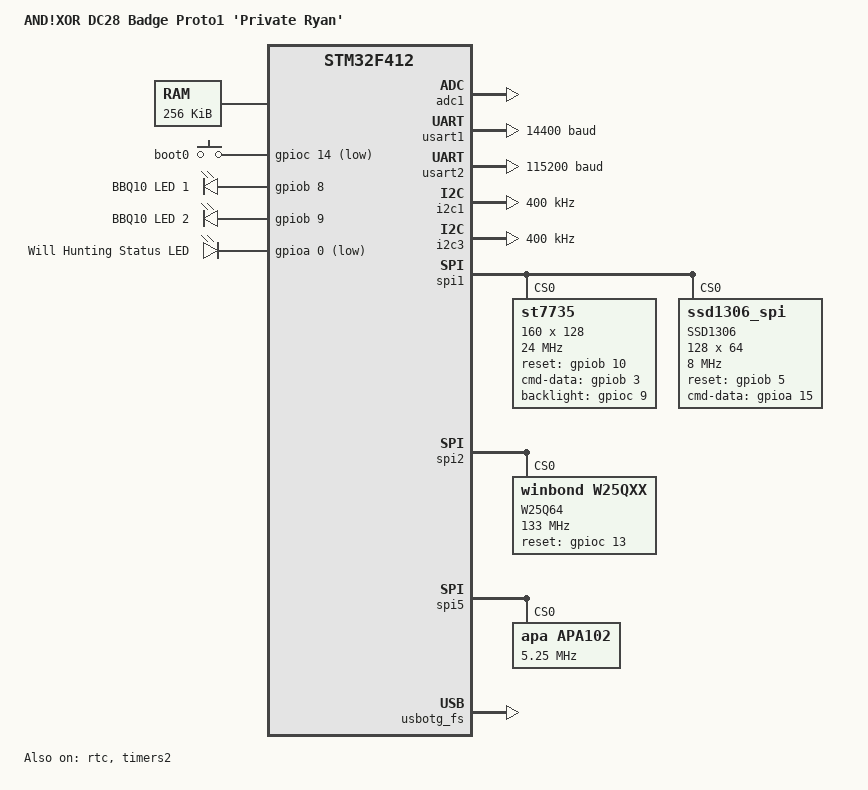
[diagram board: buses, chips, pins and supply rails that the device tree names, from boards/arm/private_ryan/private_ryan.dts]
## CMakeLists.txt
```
# SPDX-License-Identifier: Apache-2.0

cmake_minimum_required(VERSION 3.13.1)

include($ENV{ZEPHYR_BASE}/cmake/app/boilerplate.cmake NO_POLICY_SCOPE)
include($ENV{ZEPHYR_BASE}/cmake/cfb.cmake NO_POLICY_SCOPE)
project(will_hunting)

add_subdirectory(src)

# generate oled font
set(gen_dir ${ZEPHYR_BINARY_DIR}/include/generated/)
generate_cfb_font_for_target(app fonts/Px437_IBM_BIOS.ttf ${gen_dir}/cfb_font_ibm.h 8 8 -s 8 --first 0 --last 127)
```

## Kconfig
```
mainmenu "AND!XOR DC28 Will Hunting"


menu "AND!XOR"
rsource "src/Kconfig"
endmenu

# Sources Kconfig.zephyr in the Zephyr root directory.
#
# Note: All 'source' statements work relative to the Zephyr root directory (due
# to the $srctree environment variable being set to $ZEPHYR_BASE). If you want
# to 'source' relative to the current Kconfig file instead, use 'rsource' (or a
# path relative to the Zephyr root).
source "Kconfig.zephyr"
```

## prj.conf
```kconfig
CONFIG_ADC_1=y
CONFIG_GPIO=y
CONFIG_SERIAL=y
CONFIG_SPI=y
CONFIG_SPI_ASYNC=y
CONFIG_DMA=y

#Kernel Options
CONFIG_INIT_STACKS=y
CONFIG_BOOT_BANNER=y
CONFIG_FLOAT=y
CONFIG_HEAP_MEM_POOL_SIZE=32000
CONFIG_MAIN_STACK_SIZE=4096
# CONFIG_MPU_STACK_GUARD=y
CONFIG_NEWLIB_LIBC=y
CONFIG_OBJECT_TRACING=y
CONFIG_REBOOT=y
CONFIG_STDOUT_CONSOLE=y
# CONFIG_STACK_SENTINEL=y
 # CONFIG_CONSOLE_HANDLER=y
CONFIG_THREAD_MONITOR=y
CONFIG_THREAD_NAME=y
CONFIG_THREAD_STACK_INFO=y

# Software modules
CONFIG_HWINFO=y
CONFIG_HWINFO_STM32=y
CONFIG_SENSOR=y

# Crypto
CONFIG_TINYCRYPT=y
CONFIG_TINYCRYPT_AES=y
CONFIG_TINYCRYPT_SHA256=y

#Shell Settngs
CONFIG_SHELL=y
CONFIG_SHELL_VT100_COLORS=n
# CONFIG_SHELL_BACKEND_SERIAL=y
# CONFIG_SHELL_BACKEND_SERIAL_TX_RING_BUFFER_SIZE=32
# CONFIG_UART_SHELL_ON_DEV_NAME="UART_2"

#Shell Modules
CONFIG_SHELL_CMDS_RESIZE=n
CONFIG_DEVICE_SHELL=n
CONFIG_FILE_SYSTEM_SHELL=n
CONFIG_FLASH_SHELL=n
CONFIG_HWINFO_SHELL=n
CONFIG_KERNEL_SHELL=y
CONFIG_SENSOR_SHELL=n
CONFIG_LOG_CMDS=n
CONFIG_SHELL_HELP=n

#USB
CONFIG_USB=y
CONFIG_USB_COMPOSITE_DEVICE=y
CONFIG_USB_DEVICE_STACK=y
CONFIG_USB_DEVICE_MANUFACTURER="AND!XOR"
CONFIG_USB_DEVICE_PRODUCT="Will Hunting DC28"
CONFIG_USB_UART_CONSOLE=y
CONFIG_USB_UART_DTR_WAIT=n
CONFIG_USB_CDC_ACM_DEVICE_COUNT=2
CONFIG_UART_INTERRUPT_DRIVEN=y
CONFIG_UART_LINE_CTRL=y
CONFIG_UART_CONSOLE_ON_DEV_NAME="CDC_ACM_0"
CONFIG_USB_DEVICE_VID=0x1337
CONFIG_USB_DEVICE_PID=0x049E

# CDC ACM + Mass Storage
CONFIG_USB_MASS_STORAGE=y

#Logging
CONFIG_LOG=y
CONFIG_LOG_IMMEDIATE=y
CONFIG_CFB_LOG_LEVEL_DBG=y
CONFIG_DISK_LOG_LEVEL_DBG=y
CONFIG_DMA_LOG_LEVEL_DBG=y
CONFIG_FLASH_LOG_LEVEL_DBG=y
CONFIG_FS_LOG_LEVEL_DBG=y
CONFIG_LVGL_LOG_LEVEL_WRN=y
CONFIG_NVS_LOG_LEVEL_DBG=y
CONFIG_SOC_LOG_LEVEL_DBG=y
CONFIG_SPI_LOG_LEVEL_ERR=y
CONFIG_USB_CDC_ACM_LOG_LEVEL_ERR=y
CONFIG_USB_DEVICE_LOG_LEVEL_ERR=y
CONFIG_USB_DRIVER_LOG_LEVEL_ERR=y
CONFIG_USB_MASS_STORAGE_LOG_LEVEL_OFF=y
#AND!XOR Logging
CONFIG_WH_APP_LOG_LEVEL=3
CONFIG_BBQ10_LOG_LEVEL=3
CONFIG_WH_BLING_SHOW_FPS=n
CONFIG_WH_FLAG_LOG_LEVEL=3
CONFIG_WH_MENU_LOG_LEVEL=3
CONFIG_WH_UI_LOG_LEVEL=3

#FLASH
CONFIG_FLASH=y
#CONFIG_FLASH_MAP=y
CONFIG_FLASH_PAGE_LAYOUT=y
CONFIG_SPI_NOR=y
CONFIG_NVS=y

# DISK
CONFIG_MASS_STORAGE_DISK_NAME="NAND"
CONFIG_DISK_ACCESS=y
CONFIG_DISK_ACCESS_FLASH=y
CONFIG_DISK_FLASH_DEV_NAME="W25Q64"
CONFIG_DISK_FLASH_START=0x0
CONFIG_DISK_FLASH_MAX_RW_SIZE=256
CONFIG_DISK_FLASH_ERASE_ALIGNMENT=0x1000
CONFIG_DISK_FLASH_VOLUME_NAME="NAND"
CONFIG_DISK_ERASE_BLOCK_SIZE=0x1000
CONFIG_DISK_VOLUME_SIZE=0x1000000
CONFIG_FILE_SYSTEM=y
CONFIG_FAT_FILESYSTEM_ELM=y
CONFIG_MPU_ALLOW_FLASH_WRITE=y

# LEDs
CONFIG_LED_STRIP=y
CONFIG_SPI_5=y
CONFIG_APA102_STRIP=y

#SSD1306 OLED
CONFIG_DISPLAY=y
CONFIG_CHARACTER_FRAMEBUFFER=y
CONFIG_CHARACTER_FRAMEBUFFER_USE_DEFAULT_FONTS=n
#Enable AND!XOR driver
CONFIG_SSD1306_SPI=y

# AND!XOR Options
#Enable color TFT
CONFIG_ST7735=y

# Little VGL Options
CONFIG_LVGL=y
CONFIG_LVGL_BUILD_IN_FONT_ROBOTO_12=y
CONFIG_LVGL_DISPLAY_DEV_NAME="ST7735"
CONFIG_LVGL_HOR_RES=160
CONFIG_LVGL_VER_RES=128
CONFIG_LVGL_DPI=40
CONFIG_LVGL_MEM_POOL_KERNEL=y
CONFIG_LVGL_MEM_POOL_MAX_SIZE=40960
CONFIG_LVGL_VDB_SIZE=100
CONFIG_LVGL_BITS_PER_PIXEL=16
CONFIG_LVGL_COLOR_DEPTH_16=y
CONFIG_LVGL_COLOR_16_SWAP=y
CONFIG_LVGL_GROUP=y
CONFIG_LVGL_OBJ_BAR=y
CONFIG_LVGL_OBJ_BUTTON=y
CONFIG_LVGL_OBJ_CANVAS=y
CONFIG_LVGL_OBJ_CONTAINER=y
CONFIG_LVGL_OBJ_IMAGE=y
CONFIG_LVGL_OBJ_LABEL=y
CONFIG_LVGL_OBJ_LABEL_LONG_TXT_HINT=y
CONFIG_LVGL_OBJ_LIST=y
CONFIG_LVGL_OBJ_PAGE=y
CONFIG_LVGL_OBJ_REALIGN=y
CONFIG_LVGL_OBJ_SLIDER=y
CONFIG_LVGL_OBJ_TABLE=y
CONFIG_LVGL_OBJ_TEXT_AREA=y
CONFIG_LVGL_OBJ_WINDOW=y

CONFIG_LVGL_SHADOW=n
CONFIG_LVGL_THEMES=y
CONFIG_LVGL_THEME_LIVE_UPDATE=y
CONFIG_LVGL_THEME_NIGHT=y

CONFIG_LVGL_TXT_ENC_UTF8=y

#ADC for vbatt and thermistor
CONFIG_ADC=y
CONFIG_WH_ADC_SENSE=y

#Keybaord
CONFIG_BBQ10=y

#IRDA
#CONFIG_UART_1=y

#Debug options
# CONFIG_DEBUG=y
# CONFIG_DEBUG_INFO=y
```

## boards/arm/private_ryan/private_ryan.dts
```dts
/*
 * Copyright (c) 2017 Linaro Limited
 *
 * SPDX-License-Identifier: Apache-2.0
 */

/dts-v1/;
#include <mem.h>
#include <st/f4/stm32f412.dtsi>

/ {
	model = "AND!XOR DC28 Badge Proto1 'Private Ryan'";
	compatible = "st,stm32f412";

	chosen {
		zephyr,console = &usart2;
		zephyr,shell-uart = &usart2;
		zephyr,sram = &sram0;
		zephyr,flash = &flash0;
	};

	sram0: memory@20000000 {
		reg = <0x20000000 DT_SIZE_K(256)>;
	};

	soc {
		flash-controller@40023c00 {
			flash0: flash@8000000 {
				reg = <0x08000000 DT_SIZE_K(512)>;
			};
		};
	};

	gpio_boot0 {
		compatible = "gpio-keys";
		boot0_button: boot0_button {
			label = "boot0";
			gpios = <&gpioc 14 GPIO_INT_ACTIVE_LOW>;
		};
	};

	leds {
		compatible = "gpio-leds";
		keyboard_led_0: led_0 {
			gpios = <&gpiob 8 GPIO_INT_ACTIVE_HIGH>;
			label = "BBQ10 LED 1";
		};
		keyboard_led_1: led_1 {
			gpios = <&gpiob 9 GPIO_INT_ACTIVE_HIGH>;
			label = "BBQ10 LED 2";
		};
		status_led: status_led {
			gpios = <&gpioa 0 GPIO_INT_ACTIVE_LOW>;
			label = "Will Hunting Status LED";
		};
	};

	aliases {
		// sw0 = &user_button;
	};
};

&adc1 {
	status = "okay";
};

&dma2 {
	status = "okay";
};

&usart1 {
	current-speed = <14400>;
	// pinctrl-names = "default";
	status = "okay";
};

&usart2 {
	current-speed = <115200>;
	//pinctrl-names = "default";
	status = "okay";
};

arduino_i2c: &i2c1 {
	status = "okay";
	clock-frequency = <I2C_BITRATE_FAST>;
};

&i2c2 {
	status = "disabled";
	clock-frequency = <I2C_BITRATE_FAST>;
};

&i2c3 {
	clock-frequency = <I2C_BITRATE_FAST>;
};

&spi1 {
	status = "okay";

	st7735@0 {
		status = "okay";
		compatible = "st7735";
		label = "ST7735";
		reg = <0>;
		spi-max-frequency = <24000000>;
		cs-gpios = <&gpiod 2 0>;
		reset-gpios = <&gpiob 10 0>;
		cmd-data-gpios = <&gpiob 3 0>;
		backlight-gpios = <&gpioc 9 0>;
		width = <160>;
		height = <128>;
	};

	ssd1306@0 {
		compatible = "ssd1306_spi"; //custom AND!XOR driver
		reg = <0>;
		label = "SSD1306";
		spi-max-frequency = <8000000>;
		width = <128>;
		height = <64>;
		cs-gpios = <&gpioa 4 0>;
		reset-gpios = <&gpiob 5 0>;
		cmd-data-gpios = <&gpioa 15 0>;
	};
};

&spi2 {
	status = "okay";
	//W25Q64FV
	w25q64: w25q64fv@0 {
		compatible = "winbond,w25qxx", "jedec,spi-nor";
		reg = <0>;
		label = "W25Q64";
		size = <0x1000000>;
		spi-max-frequency = <133000000>; 
		status = "okay";
		has-be32k;
		jedec-id = [ef 40 18];
		reset-gpios = <&gpioc 13 0>;
	};
};

&spi5 {
	status = "okay";
	clocks = <&rcc STM32_CLOCK_BUS_APB2 0x00100000>;
	apa102@0 {
		compatible = "apa,apa102";
		reg = <0>;
		spi-max-frequency = <5250000>;
		label = "APA102";
	};
};

&rtc {
	status = "okay";
};

&timers2 {
	status = "okay";
};

&usbotg_fs {
	status = "okay";
};
```

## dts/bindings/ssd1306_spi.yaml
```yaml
#
# Copyright (c) 2020, AND!XOR LLC <https://www.andnxor.com>
#

description: >
    This is a representation of the SSD1306 OLED display using SPI bus

compatible: "ssd1306_spi"

include: spi-device.yaml

properties:

    cs-gpios:
      type: phandle-array
      required: true

    reset-gpios:
      type: phandle-array
      required: false

    cmd-data-gpios:
      type: phandle-array
      required: true

    width:
      type: int
      required: true
      description: Screen width in pixels

    height:
      type: int
      required: true
      description: Screen height in pixels
```

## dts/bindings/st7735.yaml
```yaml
#
# Copyright (c) 2020, AND!XOR LLC <https://www.andnxor.com>
#

description: >
    This is a representation of the ST7735 color TFT

compatible: "st7735"

include: spi-device.yaml

properties:

    backlight-gpios:
      type: phandle-array
      required: true

    cs-gpios:
      type: phandle-array
      required: true

    reset-gpios:
      type: phandle-array
      required: false

    cmd-data-gpios:
      type: phandle-array
      required: true

    width:
      type: int
      required: true
      description: Screen width in pixels

    height:
      type: int
      required: true
      description: Screen height in pixels
```

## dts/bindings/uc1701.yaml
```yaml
#
# Copyright (c) 2020, AND!XOR LLC <https://www.andnxor.com>
#

description: >
    This is a representation of the UC1701 128x64 monochrome LCD

compatible: "uc1701"

include: spi-device.yaml

properties:

    backlight-gpios:
      type: phandle-array
      required: true

    cs-gpios:
      type: phandle-array
      required: true

    reset-gpios:
      type: phandle-array
      required: false

    cmd-data-gpios:
      type: phandle-array
      required: true

    width:
      type: int
      required: true
      description: Screen width in pixels

    height:
      type: int
      required: true
      description: Screen height in pixels
```

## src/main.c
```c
/*****************************************************************************
 * Made with beer and late nights in California.
 *
 * (C) Copyright 2017-2020 AND!XOR LLC (https://andnxor.com/).
 *
 * PROPRIETARY AND CONFIDENTIAL UNTIL AUGUST 11th, 2020 then,
 *
 * Licensed under the Apache License, Version 2.0 (the "License");
 * you may not use this file except in compliance with the License.
 * You may obtain a copy of the License at
 *
 *     http://www.apache.org/licenses/LICENSE-2.0
 *
 * Unless required by applicable law or agreed to in writing, software
 * distributed under the License is distributed on an "AS IS" BASIS,
 * WITHOUT WARRANTIES OR CONDITIONS OF ANY KIND, either express or implied.
 * See the License for the specific language governing permissions and
 * limitations under the License.
 *
 * ADDITIONALLY:
 * If you find this source code useful in anyway, use it in another electronic
 * conference badge, or just think it's neat. Consider buying us a beer
 * (or two) and/or a badge (or two). We are just as obsessed with collecting
 * badges as we are in making them.
 *
 * Contributors:
 * 	@andnxor
 * 	@zappbrandnxor
 * 	@hyr0n1
 * 	@bender_andnxor
 * 	@lacosteaef
 *  @f4nci3
 *  @Cr4bf04m
 *****************************************************************************/
#include <drivers/gpio.h>
#include <drivers/led_strip.h>
#include <logging/log.h>
#include <shell/shell.h>
#include <shell/shell_uart.h>
#include <stdio.h>
#include <stdlib.h>
#include <sys/printk.h>
#include <usb/usb_device.h>
#include <version.h>
#include <zephyr.h>

#include "drivers/bbq10.h"
#include "system.h"
#include "wh_app.h"
#include "wh_bender.h"
#include "wh_bling.h"
#include "wh_fs.h"
#include "wh_led.h"
#include "wh_menu.h"
#include "wh_post.h"
#include "wh_settings.h"
#include "wh_shell.h"
#include "wh_ui.h"
#include "wh_ui_status.h"
#include "wh_unlocks.h"

LOG_MODULE_REGISTER(main, 4);

#include "autoconf.h"
#include "devicetree.h"

/* 1000 msec = 1 sec */
#define SLEEP_TIME K_MSEC(500)

// Define this here until we find a better home
K_MUTEX_DEFINE(g_mutex_display_dc);
K_MUTEX_DEFINE(g_mutex_ui);

// static void __intro_frame_callback(uint8_t frame, void* p_data) {
//   if ((frame % 2) == 0) {
//     bbq10_led_set(false, true);
//   } else {
//     bbq10_led_set(true, false);
//   }
// }

// static void __intro() {
//   wh_bling_play_raw_bw_file(WH_FS_MOUNT_POINT "/BLING_BW/INTRO.RAW",
//                             __intro_frame_callback, false, NULL);
//   bbq10_led_set(false, false);
// }

void main(void) {
  int err;

  // Quickly enable status LED
  struct device* status_led_ctrl =
      device_get_binding(DT_GPIO_LEDS_STATUS_LED_GPIOS_CONTROLLER);
  gpio_pin_configure(status_led_ctrl, DT_GPIO_LEDS_STATUS_LED_GPIOS_PIN,
                     GPIO_OUTPUT);
  gpio_pin_set(status_led_ctrl, DT_GPIO_LEDS_STATUS_LED_GPIOS_PIN, 0);

  // Setup the UI
  wh_ui_init();
  wh_menu_init();

  // Init all the registered apps TODO: Move ot zephyr init framework
  wh_app_init();

  // Init persistence TODO change to zephyr init
  wh_fs_init();

  WH_LED_ALL_OFF();

  // Init settings TODO: change to zephyr init
  wh_settings_init();
  wh_settings_save();

  wh_post_dump();

  // Init shelll
  wh_shell_init();

  k_mutex_lock(&g_mutex_ui, K_FOREVER);
  //__intro(); //DISABLE INTRO FOR NOW
  k_mutex_unlock(&g_mutex_ui);
  wh_menu_show();

#ifdef CONFIG_USB
  err = usb_enable(NULL);
  if (err != 0) {
    LOG_ERR("Failed to enable USB [%d]", err);
  } else {
    LOG_INF("USB Enabled");
  }
#endif

  gpio_pin_set(status_led_ctrl, DT_GPIO_LEDS_STATUS_LED_GPIOS_PIN, 1);
  LOG_INF("AND!XOR DC28 Started %s [%s]", VERSION, BUILD_TIMESTAMP);
  LOG_INF("You found the maintence port, here's a CTF code: %s",
          WH_UNLOCK_FLAG_POST);

  // Normal operation if provisioned
  if (wh_util_is_provisioned()) {
    while (1) {
      // Blink the status LED if POST is no bueno
      if (wh_post_state_get() != WH_POST_GOOD) {
        gpio_pin_toggle(status_led_ctrl, DT_GPIO_LEDS_STATUS_LED_GPIOS_PIN);
      }
      k_sleep(SLEEP_TIME);
    }
  }

  // Test pattern if not provisioned
  else {
    uint8_t color = 0;
    while (1) {
      switch (color) {
        case 0:
          wh_led_set_all(WH_LED_COLOR_RED);
          break;
        case 1:
          wh_led_set_all(WH_LED_COLOR_GREEN);
          break;
        case 2:
          wh_led_set_all(WH_LED_COLOR_BLUE);
          break;
        case 3:
          wh_led_set_all(WH_LED_COLOR_WHITE);
          break;
      }
      wh_led_show();
      gpio_pin_toggle(status_led_ctrl, DT_GPIO_LEDS_STATUS_LED_GPIOS_PIN);
      k_sleep(1000);
      if (color == 3) {
        k_sleep(2000);
      }
      color = (color + 1) % 4;
    }
  }
}
```

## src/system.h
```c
/*****************************************************************************
 * Made with beer and late nights in California.
 *
 * (C) Copyright 2017-2020 AND!XOR LLC (https://andnxor.com/).
 *
 * PROPRIETARY AND CONFIDENTIAL UNTIL AUGUST 11th, 2020 then,
 *
 * Licensed under the Apache License, Version 2.0 (the "License");
 * you may not use this file except in compliance with the License.
 * You may obtain a copy of the License at
 *
 *     http://www.apache.org/licenses/LICENSE-2.0
 *
 * Unless required by applicable law or agreed to in writing, software
 * distributed under the License is distributed on an "AS IS" BASIS,
 * WITHOUT WARRANTIES OR CONDITIONS OF ANY KIND, either express or implied.
 * See the License for the specific language governing permissions and
 * limitations under the License.
 *
 * ADDITIONALLY:
 * If you find this source code useful in anyway, use it in another electronic
 * conference badge, or just think it's neat. Consider buying us a beer
 * (or two) and/or a badge (or two). We are just as obsessed with collecting
 * badges as we are in making them.
 *
 * Contributors:
 * 	@andnxor
 * 	@zappbrandnxor
 * 	@hyr0n1
 * 	@bender_andnxor
 * 	@lacosteaef
 *  @f4nci3
 *  @Cr4bf04m
 *****************************************************************************/
#ifndef WH_SYSTEM_H
#define WH_SYSTEM_H

#include "kernel.h"

#define VERSION_INT 27
#define VERSION "v27"
#define BUILD_TIMESTAMP \
  ""__DATE__            \
  " "__TIME__           \
  " PT"

#define SPI_FLASH_MIN_VERSION 24
#define SPI_FLASH_MAX_VERSION 30
#define SPI_FLASH_VERSION_FILENAME "/VERSION"

#define WH_THREAD_PRIORITY_HIGH K_PRIO_COOP(1)
#define WH_THREAD_PRIORITY_MEDIUM K_PRIO_PREEMPT(5)
#define WH_THREAD_PRIORITY_LOW K_PRIO_PREEMPT(9)

#define BADGE_ID_UNKNOWN 0xFFFF
#define BADGE_ID_MAXIMUM 1024

#define WH_PATH_MAX_LEN 128

extern struct k_mutex g_mutex_display_dc;
extern struct k_mutex g_mutex_ui;

#endif
```

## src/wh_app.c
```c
/*****************************************************************************
 * Made with beer and late nights in California.
 *
 * (C) Copyright 2017-2020 AND!XOR LLC (https://andnxor.com/).
 *
 * PROPRIETARY AND CONFIDENTIAL UNTIL AUGUST 11th, 2020 then,
 *
 * Licensed under the Apache License, Version 2.0 (the "License");
 * you may not use this file except in compliance with the License.
 * You may obtain a copy of the License at
 *
 *     http://www.apache.org/licenses/LICENSE-2.0
 *
 * Unless required by applicable law or agreed to in writing, software
 * distributed under the License is distributed on an "AS IS" BASIS,
 * WITHOUT WARRANTIES OR CONDITIONS OF ANY KIND, either express or implied.
 * See the License for the specific language governing permissions and
 * limitations under the License.
 *
 * ADDITIONALLY:
 * If you find this source code useful in anyway, use it in another electronic
 * conference badge, or just think it's neat. Consider buying us a beer
 * (or two) and/or a badge (or two). We are just as obsessed with collecting
 * badges as we are in making them.
 *
 * Contributors:
 * 	@andnxor
 * 	@zappbrandnxor
 * 	@hyr0n1
 * 	@bender_andnxor
 * 	@lacosteaef
 *  @f4nci3
 *  @Cr4bf04m
 *****************************************************************************/
#include "wh_app.h"

#include <logging/log.h>
#include <zephyr.h>

#include "system.h"
#include "wh_menu.h"
#include "wh_ui.h"

LOG_MODULE_REGISTER(wh_app, CONFIG_WH_APP_LOG_LEVEL);

// Semaphore to control app running
static app_t* m_app;
static const app_t* apps[] = {
    &app_bender, &app_bling,      &app_decoder,  &app_photos,
    &app_basic,  &app_basic_edit, &app_settings, &app_about, &app_reset};

void __app_task() {
  while (1) {
    // Default mode is show the menu
    wh_menu_show();

    // Wait for something to run an app
    while (!m_app) {
      k_sleep(K_MSEC(30));  // Be nice to their battery
    }

    if (m_app) {
      // Route signals to app
      LOG_DBG("Running app '%s'", m_app->label);
      wh_ui_signal_callback_t last_signal_callback =
          wh_ui_signal_callback_set(m_app->signal_callback);

      // Run the app
      m_app->handler(m_app->data);

      LOG_DBG("App '%s' Done", m_app->label);

      // App is done re-route signals
      wh_ui_signal_callback_set(last_signal_callback);
      m_app = NULL;
    }

    // Done
    // Note Semaphore is not given back. Only wh_app_run() can give semaphore
  }
}

/**
 * @brief Get the number of apps registered
 */
uint32_t wh_app_count_get() {
  return APP_COUNT;
}

/**
 * @brief Get an app at index
 * @param app_index The index of the application to retreive
 * @return Pointer to app
 */
const app_t* wh_app_get(uint32_t app_index) {
  if (app_index >= APP_COUNT) {
    return NULL;
  }

  return apps[app_index];
}

void wh_app_init() {
  LOG_DBG("Apps being initialized");
  // Control semaphore until an app is run
  // k_sem_take(&m_app_sem, K_FOREVER);

  LOG_DBG("Apps registered: %d", APP_COUNT);

  for (uint8_t i = 0; i < APP_COUNT; i++) {
    LOG_DBG("APP init(): %s", log_strdup(apps[i]->label));
    // Call the app's initializer
    apps[i]->init();
  }
}

/**
 * @brief Run a specific app at an index
 * @param pointer to app struct
 */
void wh_app_run(const app_t* p_app) {
  m_app = (app_t*)p_app;
}

/**
 * @brief Run a specific app at an index
 * @param app_index The index of the application to run
 */
void wh_app_run_index(uint32_t app_index) {
  if (app_index >= APP_COUNT) {
    return;
  }

  wh_app_run((const app_t*)&apps[app_index]);
}

K_THREAD_DEFINE(app_runner,
                4096,
                __app_task,
                NULL,
                NULL,
                NULL,
                WH_THREAD_PRIORITY_MEDIUM,
                0,
                1000);  // Prevent thread from starting
```

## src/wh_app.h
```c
/*****************************************************************************
 * Made with beer and late nights in California.
 *
 * (C) Copyright 2017-2020 AND!XOR LLC (https://andnxor.com/).
 *
 * PROPRIETARY AND CONFIDENTIAL UNTIL AUGUST 11th, 2020 then,
 *
 * Licensed under the Apache License, Version 2.0 (the "License");
 * you may not use this file except in compliance with the License.
 * You may obtain a copy of the License at
 *
 *     http://www.apache.org/licenses/LICENSE-2.0
 *
 * Unless required by applicable law or agreed to in writing, software
 * distributed under the License is distributed on an "AS IS" BASIS,
 * WITHOUT WARRANTIES OR CONDITIONS OF ANY KIND, either express or implied.
 * See the License for the specific language governing permissions and
 * limitations under the License.
 *
 * ADDITIONALLY:
 * If you find this source code useful in anyway, use it in another electronic
 * conference badge, or just think it's neat. Consider buying us a beer
 * (or two) and/or a badge (or two). We are just as obsessed with collecting
 * badges as we are in making them.
 *
 * Contributors:
 * 	@andnxor
 * 	@zappbrandnxor
 * 	@hyr0n1
 * 	@bender_andnxor
 * 	@lacosteaef
 *  @f4nci3
 *  @Cr4bf04m
 *****************************************************************************/
#ifndef WH_APP_H
#define WH_APP_H

#include "wh_bender.h"
#include "wh_ui.h"

#define WH_APP_NAME_LENGTH 10

extern void wh_app_init();

/**
 * @brief Callback prototype for runnning an app
 * @param p_app Pointer to app for runtime context
 */
typedef void (*app_handler_t)(void* data);

/**
 * @brief Callback prototype used during app init
 * @param p_app Pointer to app for runtime context
 */
typedef void (*app_init_t)(void);

typedef struct {
  const char* label;
  app_init_t init;
  app_handler_t handler;
  wh_ui_signal_callback_t signal_callback;
  void* data;
} app_t;

#define APP_NAME(counter) APP_CAT(_wh_app_, counter)
#define APP_CAT(a, b) APP_DUMMY() a##b
#define APP_DUMMY()

#define WH_APP_REGISTER(_label, _init, _handler, __signal_callback, _data, \
                        _priority)                                         ;;

/**
 * @brief Run a specific app at an index
 * @param app_index The index of the application to run
 */
extern void wh_app_run_index(uint32_t app_index);

/**
 * @brief Run a specific app at an index
 * @param pointer to app struct
 */
extern void wh_app_run(const app_t* p_app);

/**
 * @brief Get the number of apps registered
 */
extern uint32_t wh_app_count_get();

/**
 * @brief Get an app at index
 * @param app_index The index of the application to retreive
 * @return Pointer to app
 */
extern const app_t* wh_app_get(uint32_t app_index);

#define APP_COUNT 9
extern const app_t app_about;
extern const app_t app_basic;
extern const app_t app_basic_edit;
extern const app_t app_bender;
extern const app_t app_bling;
extern const app_t app_decoder;
extern const app_t app_photos;
extern const app_t app_reset;
extern const app_t app_settings;

#endif
```

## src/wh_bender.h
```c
/*****************************************************************************
 * Made with beer and late nights in California.
 *
 * (C) Copyright 2017-2020 AND!XOR LLC (https://andnxor.com/).
 *
 * PROPRIETARY AND CONFIDENTIAL UNTIL AUGUST 11th, 2020 then,
 *
 * Licensed under the Apache License, Version 2.0 (the "License");
 * you may not use this file except in compliance with the License.
 * You may obtain a copy of the License at
 *
 *     http://www.apache.org/licenses/LICENSE-2.0
 *
 * Unless required by applicable law or agreed to in writing, software
 * distributed under the License is distributed on an "AS IS" BASIS,
 * WITHOUT WARRANTIES OR CONDITIONS OF ANY KIND, either express or implied.
 * See the License for the specific language governing permissions and
 * limitations under the License.
 *
 * ADDITIONALLY:
 * If you find this source code useful in anyway, use it in another electronic
 * conference badge, or just think it's neat. Consider buying us a beer
 * (or two) and/or a badge (or two). We are just as obsessed with collecting
 * badges as we are in making them.
 *
 * Contributors:
 * 	@andnxor
 * 	@zappbrandnxor
 * 	@hyr0n1
 * 	@bender_andnxor
 * 	@lacosteaef
 *  @f4nci3
 *  @Cr4bf04m
 *****************************************************************************/

#ifndef WH_BENDER_H
#define WH_BENDER_H

#include <zephyr.h>

#define URL_LEADERBOARD 		"bit.ly/3egadD5\n"
#define URL_SLACK 				"bit.ly/3eRTR4B\n"
#define URL_END 				"bit.ly/2Aw1s9C\n"
#define MAP_CHAR_PLAYER 		"☻"
#define MAP_CHAR_LOCKED 		"°"
#define MAP_CHAR_UNLOCKED 		"°"
#define MAP_CHAR_WALL 			'*'
#define MAP_START_ROW 			15
#define MAP_START_COL 			11
#define MAP_MAX_ROWS 			18
#define MAP_MAX_COLS 			36
#define NUMBER_CHALLENGES 		21
#define NUMBER_MAIN_CHALLENGES 	10
#define NUMBER_LULZ_MAX 		20
#define NUMBER_ITEMS 			10
#define NUMBER_RECAPS 			11
#define BENDER_NAME_FLAG 		0x01
#define FREND_SYN_FLAG 			0x83
#define FREND_ACK_FLAG 			0x84

//Description Headers
#define BENDER_INTRO_MSG 	"Badge Enabled Non Directive Enigma Routine Portable Interface SyStem:\nBENDER~PISS\n\nWlcm 2 d sprawl!\n\nTyp \"bender\" 2 git started or RTFM.MD!"
#define BENDER_CMDZ 		"DeZ commands R wut U mostly uZ: hack, look, look at THING, loot, map, w a s d,\nfrend, name, reset, gender, &...\nbender statz\n"
#define BENDER_HACK 		"U eXplt things whch haz vulnz. Wen U hack stuff U must hack it w a tng it\niz vulnerable 2. hack TNG1 wit TNG2. 2 complEt a chaLenG U \"hack flag wit ANSWR\"\n"
#define BENDER_LOOT 		"2 C *.* U haz typ \"loot show\"\nItz not rly stealing f U found it right? So f U find som swEt\nsupa amazeballs TNG jst typ \"loot TNG\" & itz yorz\n"
#define BENDER_LOOT_SUCCESS "U luv stealing!\nU luv tkng tNgs!\n"
#define BENDER_LOOK 		"typ \"look\" 2 peep an area. f U wnt 2 git supa creepy & ^ clOs L%k @ an ITEM\ntyp \"look at ITEM\"\n"
#define BENDER_FREND 		"*Unlock Challngz!\n0 U giv ID 2 frend\n1 F $frend syn ID\n2 F giv U FLAG\n3 U $frend ack FLAG\n4 Both Profit!\n\n"
#define BENDER_FREND_SYN 	"Ax frend 4 bdge ID. datz thR public key.\nU nEd 2 encrypt it w yor prv8 key. DFIU!\n\nEx: $frend syn ID\n"
#define BENDER_FREND_ACK 	"Did SOME1 GIV U a frend FLAG?\nDecrypt it here, git thR bAs unlocks & a flag 4 points. DFIU!\n\nEx: $frend ack FLAG\n"
#define BENDER_RESET  		"2 reset BENDER~PISS 1st contemplate DIS Lyf choice whIl staring n d mirra\nshaming yorself. f stil kewl w it typ \"reset Y\"\n"
#define BENDER_RESET_Y 		"Init 0 ~ Hodl on 2 yor butts.\nRst Dun.\n"
#define BENDER_RESET_y 		"n U cnt uz lowR case y we sed uz UPPER CASE Y foLow instrcs o badge wiL explode\n"
#define BENDER_GENDER 		"B comfortable w hu U are, chAng yor gender f nEd B.\nU can b: M, F, or X\nTyp...\n\"gender MFX\"\n"
#define BENDER_GENDER_ERR 	"Dat doesnt mAk sense...U must b gender :#).\n"
#define BENDER_GENDER_M 	"SX chAng sucSful: Man-Bot!\n"
#define BENDER_GENDER_F 	"SX chAng sucSful: Fem-Bot!\n"
#define BENDER_GENDER_X 	"SX chAng sucSful: NonBinary-Bot!\n"
#define BENDER_GENDER_PRO_M "Mr "
#define BENDER_GENDER_PRO_F "Ms "
#define BENDER_GENDER_PRO_X "Mx "

//Main Storyling Thingz
#define CHALLENGE_MASTER_UNLOCK 		"NEVERGONNAGIVEYOUUPNEVERGONNALETYOUDOWN"
#define CHALLENGE_DESC_LOCKED 			"D chaLenG iz locked! Xchang frend flag 4 unlock!\n"
#define CHALLENGE_TARGET_HACKED 		"O damn, we hav a l337 haxor Ovr hEr. d louder U R d less U hEr.\ntAk a L%k @ yor pwned target.\n"
#define CHALLENGE_TARGET_NOT_HACKED_YET "Zzt. Derp. Cnt comply. U must drink aL d b%z & hack aL d thingz.\n"

//Main Challenge - OSINT #1 Twitter
#define CHALLENGE_FLGR_00 			0x64
#define CHALLENGE_DESC_00 			"Wut? Itz MrBill. Hes trying 2 coLec OSINT on Hs net of hard hat SD haXor fam.\nStA classy & giv him wot he wants.\n"
#define CHALLENGE_ANSW_00 			"420-69-1337" 	//OSINT - Most common reported SSN from BSSD
#define CHALLENGE_TARGET_00_0_NAME 	"OSINT"
#define CHALLENGE_TARGET_00_0_DESC 	"he pEpn SSN off W3s\n" 
#define CHALLENGE_TARGET_00_1_NAME 	"SSN"
#define CHALLENGE_TARGET_00_1_DESC 	"k not boomer, dat iz social security #\n"
#define CHALLENGE_TOOL_DESC_0 		"MALTEGO"		//THIS HACKS CHALLENGE_TARGET_00_0_NAME

//Main Challenge - CRYPTO/ENCODING #1 Keyboard Walk Encoding
#define CHALLENGE_FLGR_01 			0x65
#define CHALLENGE_DESC_01 			"U find a locked Q10 w tiny ENGRAVING.\nitz asking 4 a PW.\nA BIRB flies overhead, you l%k ^ & 2 d L.\n"
#define CHALLENGE_ANSW_01 			"canada" 			//CRYPTO - Keyboard shift cypher up and to the left from the engraving (with wraparound): tzizcz
#define CHALLENGE_TARGET_01_0_NAME 	"ENGRAVING"
#define CHALLENGE_TARGET_01_0_DESC 	"on d bak d following iz inscribed: tzizcz\n"
#define CHALLENGE_TARGET_01_1_NAME 	"BIRB"
#define CHALLENGE_TARGET_01_1_DESC 	"Itz not real, birbs R guvment survlnce drone dat wraprownd\nd globe ch1rpin \'key key\'\n"
#define CHALLENGE_TOOL_DESC_1 		"AMSCOPE"		//THIS HACKS CHALLENGE_TARGET_01_0_NAME

//Main Challenge - REVERSE ENGINEERING #1 Derbycon Trevor Firmware
#define CHALLENGE_FLGR_02 			0x66
#define CHALLENGE_DESC_02 			"Theres an elctrnk bug. ! d NSA kind bt d ROACH frm con kind.\nPrograMn INTRFAC exposed. f only U c%d hack dis HW.\n"
#define CHALLENGE_ANSW_02 			"ROUNDERS" 		//REVERSE ENGINEERING - Binary is hidden as DERBY.RAW, use strings or Ghidra on it
#define CHALLENGE_TARGET_02_0_NAME 	"INTRFAC"
#define CHALLENGE_TARGET_02_0_DESC 	"D mny bug badge blings raw whIl itz binary dumps.\nItz az f frm warez iz jst hidden n pln cite.\n"
#define CHALLENGE_TARGET_02_1_NAME 	"ROACH"
#define CHALLENGE_TARGET_02_1_DESC 	"U haz a senS of longing 4 Lulvil.\nTrevor 4get icing Dave whIl dressed az a *<|:).\n"
#define CHALLENGE_TOOL_DESC_2 		"ICEDEBUGGER"	//THIS HACKS CHALLENGE_TARGET_02_0_NAME

//Main Challenge - REVERSE ENGINEERING #2 Find the E-Mail Address
#define CHALLENGE_FLGR_03 			0x67
#define CHALLENGE_DESC_03 			"U cUm ax a supa secure medical LAPPY covered n stickers.\nIt hz a TACO_CORP_PROMPT on itz scrEn.\n"
#define CHALLENGE_ANSW_03 			"8GAT35@VAXX34.0RG"//REVERSE ENGINEERING - Binary is on flash under /usr/bin
#define CHALLENGE_TARGET_03_0_NAME 	"LAPPY"
#define CHALLENGE_TARGET_03_0_DESC 	"D credz auth binary wz XtractD. wot acownt iz Usd 2 login? Saved undR\nyouZer binz...\n"
#define CHALLENGE_TARGET_03_1_NAME 	"TACO_CORP_PROMPT"
#define CHALLENGE_TARGET_03_1_DESC 	"D prolly not HIPAA compliant login 4 Taco Corps medical rEsrch divisN.\nDid dey release d virus only 2 seL thR salsa vaccine az a cure?\n"
#define CHALLENGE_TOOL_DESC_3 		"RUBBER_DUCKY"		//THIS HACKS CHALLENGE_TARGET_03_0_NAME

//Main Challenge - CRYPTO/ENCODING #2 Morse Encoding where speed is related to temperature
#define CHALLENGE_FLGR_04 			0x68
#define CHALLENGE_DESC_04 			"A lRg comms tower itz n not powered, a PIGEON_HOLE gap exists whch needs somTIN\n4 cndctvity. l%kin awA U notic som CLOUDS. c%d DIS b d coz of it aL. d rona?\n"
#define CHALLENGE_ANSW_04 			"5GT0W3RZDuH" 	//5GT0W3RZDuH (HEX)-> 35 47 54 30 57 33 52 5a 44 75 48 (MORSE) -> CHALLENGE_HACK_04 (BELOW)
#define CHALLENGE_HACK_04 			"...-- .....  ....- --...   ..... ....-   ...-- -----   ..... --...   ...-- ...--   ..... ..---   ..... .-   ....- ....-   --... .....   ....- ---.."
#define CHALLENGE_TARGET_04_0_NAME 	"PIGEON_HOLE"
#define CHALLENGE_TARGET_04_0_DESC 	"woah, d bIrb ComplEtd d cIrcuit! a vanilla iCe trak starts playin &\nlyts r flashin waaa t% fst. nEd 2 lit'rally netflIx & Chill 2 slo\nthngz dwn b4 i git a hedakE\n"
#define CHALLENGE_TARGET_04_1_NAME 	"CLOUDS"
#define CHALLENGE_TARGET_04_1_DESC 	"R thOs clouds? problE not, thOs R chem trails.\nDey put a hex on U morse so thN U tink.\n"
#define CHALLENGE_TOOL_DESC_4 		"BIRB"		//THIS HACKS CHALLENGE_TARGET_04_0_NAME

//Main Challenge - CRYPTO/ENCODING #3 RS232 "Serial UART" blinks
#define CHALLENGE_FLGR_05 			0x69
#define CHALLENGE_DESC_05 			"u c Mt BER cn, sobr thotz :( mAbE U cn cure d rona by putn smTIN inside yo slf.\nU scratch BUTT whIl tinkiN bout it.\n"
#define CHALLENGE_ANSW_05 			"1NH@L3LY507"		//1NH@L3LY507 (BINARY) -> (RS232 Protocol) -> Prepend 0 Start Bit + Invert LSB/MSB Order + Append 1 Stop Bit
#define CHALLENGE_HACK_05 			"0100011001 0011100101 0000100101 0000000101 0001100101 0110011001 0001100101 0100110101 0101011001 0000011001 0111011001"
#define CHALLENGE_TARGET_05_0_NAME 	"BUTT"
#define CHALLENGE_TARGET_05_0_DESC 	"Yor gutz lite ^ & blink. Itz supa serial 2 stRt tink bout lEst & mst\nsigNfict tNgs thN stop, cuz DIS mA b d wrng cure.\n"
#define CHALLENGE_TARGET_05_1_NAME 	"BER"
#define CHALLENGE_TARGET_05_1_DESC 	"Modern tImz Fruitlands. datz a damn gud beR, despite it bn Mt.\n"
#define CHALLENGE_TOOL_DESC_5 		"UVLIGHT"		//THIS HACKS CHALLENGE_TARGET_05_0_NAME

//Main Challenge - PHREAKING - Elevator Hacking
#define CHALLENGE_FLGR_06 			0x6A
#define CHALLENGE_DESC_06 			"U entR a building & wiLCaruana runs awA az U apRch an OpN elvt0r. Yln he hz a\n:X & dropz a CELL. Thr iz l0kd CALLBOX bElO d flOr btNz.\n"
#define CHALLENGE_ANSW_06 			"OTIS"
#define CHALLENGE_HACK_06 			"LUG caL bawx iz n chaLenG 4 you, d trusT baL pik pWns it n 2nds.\n"
#define CHALLENGE_TARGET_06_0_NAME 	"CALLBOX"
#define CHALLENGE_TARGET_06_0_DESC 	"Bt hW u caL? Etchd w wot wz problE a hevE gauge wire U c ZXh0LjQxNzc=\n" //Ext 4177
#define CHALLENGE_TARGET_06_1_NAME 	"CELL"
#define CHALLENGE_TARGET_06_1_DESC 	"Therz only 1 fone # n d recnt caL lst 312d3333372d4d41542d492d4f4245592e2e2e4d6179422064726f7020442059\n"
#define CHALLENGE_TOOL_DESC_6 		"LOCKPICK"		//THIS HACKS CHALLENGE_TARGET_06_0_NAME 

///Main Challenge - SIGINT - POCSAG Payphone Challange
#define CHALLENGE_FLGR_07 			0x6B
#define CHALLENGE_DESC_07 			"A PAYPHONE by a run dwn gas statN. P$ shows -$1337 / gal.\nWUT?! wiLCaruana again, n he iz runN awA :-d & shooting a laser @ U.\n"
#define CHALLENGE_ANSW_07 			"DUALCORE"
#define CHALLENGE_HACK_07 			"d # U R clng cnt b rEchD pls hang ^ & try agen: 312d3333372d4d41542d492d4f4245592e2e2e4d6179422064726f7020442059\n"
#define CHALLENGE_TARGET_07_0_NAME 	"PAYPHONE"
#define CHALLENGE_TARGET_07_0_DESC 	"d fone worx bt itz auto dialing a messed ^ #. how Ls c%d U caL it?\n& u 1Dr wut ^ wit itz COINBOX...\n"
#define CHALLENGE_TARGET_07_1_NAME 	"COINBOX"
#define CHALLENGE_TARGET_07_1_DESC 	"it hz Bin pryed OpN & NE coins put n faL rght bak out.\nN bak u C msg: Rm9yIGEgZ29vZCB0aW1lIGNhbGwgZXh0LiAyMzIz\n" //Ext 2323
#define CHALLENGE_TOOL_DESC_7 		"QUARTER"			//THIS HACKS CHALLENGE_TARGET_07_0_NAME

//Main Challenge - CRYPTO/ENCODING #4 NTLM PASSWORD CRACKING
#define CHALLENGE_FLGR_08 			0x6C
#define CHALLENGE_DESC_08 			"Pon d flOr ther sits a glitter covered tink pad frm TyMkrs.\nItz old, runN win 2000, & evN hz an IOMEGA_DRIVE.\n"
#define CHALLENGE_ANSW_08 			"m3atl0af"
#define CHALLENGE_TARGET_08_0_NAME 	"IOMEGA_DRIVE"
#define CHALLENGE_TARGET_08_0_DESC 	"W a solid clik d disk snaps in2 plAc.\nUn4tuN8ly d files R credential locked by d win SAM\n"
#define CHALLENGE_TARGET_08_1_NAME 	"SAM"
#define CHALLENGE_TARGET_08_1_DESC 	"Navigating 2 d win SYS thirty two config SAM U find:\n0E7FDE76B8A417953D640D5CDB0D9B72\n"
#define CHALLENGE_TOOL_DESC_8 		"ZIP_DISK"		//THIS HACKS CHALLENGE_TARGET_08_0_NAME

//Main Challenge - CRYPTO/ENCODING #5 SLACKBOT
#define CHALLENGE_FLGR_09 			0x6D
#define CHALLENGE_DESC_09 			"Theres a robotic HED on d ground, bt it iz lacking d milliamps.\nFAC & reminds of U of pure annoyance.\n"
#define CHALLENGE_ANSW_09 			"iCanHazEncryptI0n?"
#define CHALLENGE_TARGET_09_0_NAME 	"HED"
#define CHALLENGE_TARGET_09_0_DESC 	"U cn ask me simpl questions bout how Slack works,\no jst typ a few keywords lIk \"m355@g3\" bt TLK 2\nyorself so others lIk guvment dun knO\n"
#define CHALLENGE_TARGET_09_1_NAME 	"FAC"
#define CHALLENGE_TARGET_09_1_DESC 	"Blu grEn red yeLo w two eyes som brows & wot d fuk iz dat a nose o mouth?!\n"
#define CHALLENGE_TOOL_DESC_9 		"BATTERY"		//THIS HACKS CHALLENGE_TARGET_09_0_NAME

//Recap Challenge - CRYPTO/ENCODING #6 RECAP
#define CHALLENGE_FLGR_20 0x85
#define CHALLENGE_DESC_20 "WTF hapnd 2 DIS world since DC27? WeL AND!XOR rOt it n a note, tore it up, &...\nitz randomly spred throughout d wrld. Hav :) putting it bak 2geder 4 recap\n"
#define CHALLENGE_ANSW_20 "DXDCABUUUUR"
#define BENDER_RECAP "WTF hapnd 2 DIS world since DC27? WeL AND!XOR rOt it n a note, tore it up, &...\nitz randomly spred throughout d wrld. Hav :) putting it bak 2geder 4 recap\n"
#define RECAP_HEADER "U find r3cap papR...\n"
#define RECAP_00 "44 20 64 63 32 37\n20 61 6e 64 21 58\n6f 72 20 6e 75 63\n6c 65 61 72 20 77\n6e 74 72 20 62 61\n64 67 65 20 26 20\n68 61 63 6b 66 6f\n72 73 61 74 61 6e\n20 70 61 6e 64 65\n"
#define RECAP_01 "6d 69 63 20 62 61\n64 67 65 20 67 6f\n74 20 64 72 75 6e\n6b 2c 20 68 6f 6f\n6b 64 20 75 70 2c\n20 26 20 63 61 75\n73 65 64 20 44 20\n72 6f 6e 61 20 66\n72 6d 20 73 6f 6d\n"
#define RECAP_02 "20 6d 65 73 73 65\n64 20 5e 20 73 74\n64 2e 20 74 68 6e\n20 64 65 66 20 43\n6f 6e 20 77 7a 20\n63 61 6e 63 65 6c\n6c 65 64 2e 20 34\n20 72 65 61 6c 73\n69 65 73 2e 20 73\n"
#define RECAP_03 "69 6e 63 65 20 74\n68 6e 20 77 65 76\n65 20 73 70 72 65\n64 20 72 75 6d 6f\n72 73 20 63 75 7a\n20 77 65 20 72 20\n3a 22 29 20 62 6f\n75 74 20 64 20 68\n25 6b 20 5e 2e 20\n"
#define RECAP_04 "72 75 6d 6f 72 73\n20 73 75 63 68 20\n6c 69 6b 20 69 74\n20 77 7a 20 62 61\n74 73 2c 20 35 20\n67 20 63 65 6c 20\n74 6f 77 65 72 73\n2c 20 62 69 72 64\n73 2c 20 62 69 6c\n"
#define RECAP_05 "6c 20 67 61 74 65\n73 20 74 72 79 69\n6e 67 20 32 20 6d\n41 6b 20 6d 6f 6e\n65 20 6f 66 66 20\n6f 66 20 76 61 63\n63 69 6e 65 73 2c\n20 63 6f 6e 76 69\n6e 63 69 6e 67 20\n"
#define RECAP_06 "70 6f 74 75 73 20\n32 20 63 6f 6e 76\n69 6e 63 65 20 75\n20 32 20 64 72 69\n6e 6b 20 42 6c 65\n61 63 68 2e 2e 2e\n20 66 20 55 20 62\n6c 65 76 20 6e 65\n20 6f 66 20 64 61\n"
#define RECAP_07 "74 20 55 20 72 20\n64 75 6d 62 2e 20\n31 30 30 30 25 20\n66 6b 6e 20 6c 75\n67 2e 20 63 6f 72\n6f 6e 61 76 69 72\n75 73 20 73 75 78\n20 26 20 64 65 2d\n72 61 69 6c 65 64\n"
#define RECAP_08 "20 6f 75 72 20 61\n6e 6e 75 61 6c 20\n63 6f 6e 20 78 70\n65 72 65 6e 73 2e\n20 69 67 6e 6f 72\n20 61 6c 20 64 61\n74 20 64 75 6d 62\n20 73 63 68 65 74\n20 26 20 68 61 76\n"
#define RECAP_09 "20 3a 29 20 68 61\n63 6b 69 6e 67 20\n64 69 73 20 62 61\n64 67 65 2e 20 77\n65 20 68 6f 70 20\n69 74 20 62 72 69\n6e 67 73 20 55 20\n3a 29 20 26 20 68\n61 70 65 6e 73 2e\n"
#define RECAP_10 "20 55 20 73 68 75\n64 20 68 61 63 6b\n20 66 6c 61 67 20\n77 69 74 2e 2e 2e\n75 70 70 52 20 63\n61 73 65 2e 2e 2e\n"

//Lulz Quiz
#define CHALLENGE_DESC_10 "~LULZ QUIZ~\n(0)EMACS\n(1)VIM\n(2)NANO\n$hack flag wit #\n"
#define CHALLENGE_ANSW_10 "1"
#define CHALLENGE_FLGR_10 0x6E
#define CHALLENGE_FLGW_10 0x6F

#define CHALLENGE_DESC_11 "~LULZ QUIZ~\nDid Carole Baskin kill her OM?\n(0)Yes\n(1)No\n$hack flag wit #\n"
#define CHALLENGE_ANSW_11 "0"
#define CHALLENGE_FLGR_11 0x70
#define CHALLENGE_FLGW_11 0x71

#define CHALLENGE_DESC_12 "~LULZ QUIZ~\nPineapple on pizza?\n(0)Yes\n(1)No\n$hack flag wit #\n"
#define CHALLENGE_ANSW_12 "0"
#define CHALLENGE_FLGR_12 0x72
#define CHALLENGE_FLGW_12 0x73

#define CHALLENGE_DESC_13 "~LULZ QUIZ~\n(0)OSX\n(1)Windows\n(2)Linux\n(3)BSD\n$hack flag wit #\n"
#define CHALLENGE_ANSW_13 "2"
#define CHALLENGE_FLGR_13 0x74
#define CHALLENGE_FLGW_13 0x75

#define CHALLENGE_DESC_14 "~LULZ QUIZ~\n(0)Red Team\n(1)Blu Team\n(2)Purpl Team\n$hack flag wit #\n"
#define CHALLENGE_ANSW_14 "2"
#define CHALLENGE_FLGR_14 0x76
#define CHALLENGE_FLGW_14 0x77

#define CHALLENGE_DESC_15 "~LULZ QUIZ~\n(0)Spaces\n(1)Tabs\n$hack flag wit #\n"
#define CHALLENGE_ANSW_15 "1"
#define CHALLENGE_FLGR_15 0x78
#define CHALLENGE_FLGW_15 0x79

#define CHALLENGE_DESC_16 "~LULZ QUIZ~\n(0)Drop 0-Day\n(1)Notify Vendor\n$hack flag wit #\n"
#define CHALLENGE_ANSW_16 "1"
#define CHALLENGE_FLGR_16 0x7A
#define CHALLENGE_FLGW_16 0x7B

#define CHALLENGE_DESC_17 "~LULZ QUIZ~\n(0)Hack\n(1)Slp\n(2)Et\n(3)showR\n$hack flag wit #\n"
#define CHALLENGE_ANSW_17 "3"
#define CHALLENGE_FLGR_17 0x7C
#define CHALLENGE_FLGW_17 0x7D

#define CHALLENGE_DESC_18 "~LULZ QUIZ~\n(0)tst n devlpmnt\n(1)tst n production\n(2)dun tst\n$hack flag wit #\n"
#define CHALLENGE_ANSW_18 "2"
#define CHALLENGE_FLGR_18 0x7E
#define CHALLENGE_FLGW_18 0x80

#define CHALLENGE_DESC_19 "~LULZ QUIZ~\n(0)Buffer Underflow\n(1)Buffer Overflow\n$hack flag wit #\n"
#define CHALLENGE_ANSW_19 "-1" //LOLZ
#define CHALLENGE_FLGR_19 0x81
#define CHALLENGE_FLGW_19 0x82

typedef struct{ 
    uint8_t index;
	bool challenge;
}challenge_tracker_t;

typedef struct{ 
	uint8_t location_row;
	uint8_t location_col;
	uint8_t flag_cmd_right;
	uint8_t flag_cmd_wrong;
	bool discovered;
	bool unlocked;
	bool hacked;
	bool solved;
	bool right;
	bool lulz;
}challenge_t;

typedef struct{ 
	uint8_t location_row;
	uint8_t location_col;
    bool haz;
}item_t;

typedef struct{ 
	uint8_t location_row;
	uint8_t location_col;
}recap_t;

typedef struct{
	char gender;
	uint8_t location_row;
	uint8_t location_col;
	uint8_t random_unlock_0;
	uint8_t random_unlock_1;
	uint8_t random_unlock_2;
	challenge_t challenges[NUMBER_CHALLENGES];
	item_t items[NUMBER_ITEMS];
	recap_t recap[NUMBER_RECAPS];
}bender_data_t;

extern void wh_bender_data_init();

#endif
```

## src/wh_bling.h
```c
/*****************************************************************************
 * Made with beer and late nights in California.
 *
 * (C) Copyright 2017-2020 AND!XOR LLC (https://andnxor.com/).
 *
 * PROPRIETARY AND CONFIDENTIAL UNTIL AUGUST 11th, 2020 then,
 *
 * Licensed under the Apache License, Version 2.0 (the "License");
 * you may not use this file except in compliance with the License.
 * You may obtain a copy of the License at
 *
 *     http://www.apache.org/licenses/LICENSE-2.0
 *
 * Unless required by applicable law or agreed to in writing, software
 * distributed under the License is distributed on an "AS IS" BASIS,
 * WITHOUT WARRANTIES OR CONDITIONS OF ANY KIND, either express or implied.
 * See the License for the specific language governing permissions and
 * limitations under the License.
 *
 * ADDITIONALLY:
 * If you find this source code useful in anyway, use it in another electronic
 * conference badge, or just think it's neat. Consider buying us a beer
 * (or two) and/or a badge (or two). We are just as obsessed with collecting
 * badges as we are in making them.
 *
 * Contributors:
 * 	@andnxor
 * 	@zappbrandnxor
 * 	@hyr0n1
 * 	@bender_andnxor
 * 	@lacosteaef
 *  @f4nci3
 *  @Cr4bf04m
 *****************************************************************************/

#ifndef WH_BLING_H
#define WH_BLING_H

#include <zephyr.h>

#define M_PI 3.14159265358979323846

typedef void (*wh_bling_frame_callback_t)(uint8_t frame, void* p_data);

extern void wh_bling_lcd_sin();
extern void wh_bling_lcd_text();
extern void wh_bling_lcd_text_reset();

/**
 * @brief Draw a bitmap from memory
 * @param data : Pointer to memory containing the bitmap
 */
extern void wh_bling_draw_bmp_bw(const uint8_t* data);

/**
 * @brief Play a raw file directly to the screen avoiding the buffer
 * @param filename : full path to file to play
 * @param callback : Function to run after every frame
 * @param loop : Set to true to loop forever until a button is pressed.
 * Otherwise run once until completion.
 * @param data : Data to pass to the callback
 */
extern uint8_t wh_bling_play_raw_file(
    const char* filename,
    wh_bling_frame_callback_t p_frame_callback,
    bool loop,
    void* data);

/**
 * @brief Play a raw file directly to the OLED avoiding the buffer
 * @param filename : full path to file to play
 * @param callback : Function to run after every frame
 * @param loop : Set to true to loop forever until a button is pressed.
 * Otherwise run once until completion.
 * @param data : Data to pass to the callback
 * @return : 0 if successful, negative value if there was an error
 */
extern int8_t wh_bling_play_raw_bw_file(
    const char* filename,
    wh_bling_frame_callback_t p_frame_callback,
    bool loop,
    void* data);

/**
 * @brief Enable/Disable rager mode
 */
extern void wh_bling_rager_mode_set(bool rager);

/**
 * @brief Toggle rager mode
 */
extern void wh_bling_rager_mode_toggle();

/**
 * @brief Stop the currently running bling
 */
extern void wh_bling_stop();

#endif
```

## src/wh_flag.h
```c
/*****************************************************************************
 * Made with beer and late nights in California.
 *
 * (C) Copyright 2017-2020 AND!XOR LLC (https://andnxor.com/).
 *
 * PROPRIETARY AND CONFIDENTIAL UNTIL AUGUST 11th, 2020 then,
 *
 * Licensed under the Apache License, Version 2.0 (the "License");
 * you may not use this file except in compliance with the License.
 * You may obtain a copy of the License at
 *
 *     http://www.apache.org/licenses/LICENSE-2.0
 *
 * Unless required by applicable law or agreed to in writing, software
 * distributed under the License is distributed on an "AS IS" BASIS,
 * WITHOUT WARRANTIES OR CONDITIONS OF ANY KIND, either express or implied.
 * See the License for the specific language governing permissions and
 * limitations under the License.
 *
 * ADDITIONALLY:
 * If you find this source code useful in anyway, use it in another electronic
 * conference badge, or just think it's neat. Consider buying us a beer
 * (or two) and/or a badge (or two). We are just as obsessed with collecting
 * badges as we are in making them.
 *
 * Contributors:
 * 	@andnxor
 * 	@zappbrandnxor
 * 	@hyr0n1
 * 	@bender_andnxor
 * 	@lacosteaef
 *  @f4nci3
 *  @Cr4bf04m
 *****************************************************************************/
#ifndef WH_FLAG_H
#define WH_FLAG_H

#include <zephyr.h>

#define WH_FLAG_DATA_LEN 6
#define WH_FLAG_SYMBOL_COUNT 9
#define WH_FLAG_SYMBOL_LEN 5

#define WH_FLAG_COMMAND_NAME 0x01

typedef struct {
  uint32_t badge_id : 24;
  uint8_t command : 8;
  uint8_t data[WH_FLAG_DATA_LEN];
  uint16_t crc;
} __packed wh_flag_t;

typedef struct {
  char symbols[WH_FLAG_SYMBOL_COUNT][WH_FLAG_SYMBOL_LEN + 1];
} wh_flag_encoded_t;

/**
 * @brief Decode a flag from plain english following the reverse of the encode
 * process
 * @param p_flag Pointer to flag to decode into
 * @param p_encoded_flag Pointer to encoded flag to decode
 * @return 0 if success, non-zero otherwise
 */
extern int wh_flag_decode(wh_flag_t* p_flag, wh_flag_encoded_t* p_encoded_flag);

/**
 * @brief Encode badge flags as plain english. This function computes a CRC,
 * generates a nonce, encrypts the flag, then updates the output string with a
 * list of 5 letter words(symbols) representing the encrypted data
 * @param p_flag pointer to flag to encode
 * @param p_encoded_flag pointer to struct to put the resulting encoded flag
 * into
 */
extern void wh_flag_encode(wh_flag_t* p_flag,
                           wh_flag_encoded_t* p_encoded_flag);
#endif
```
